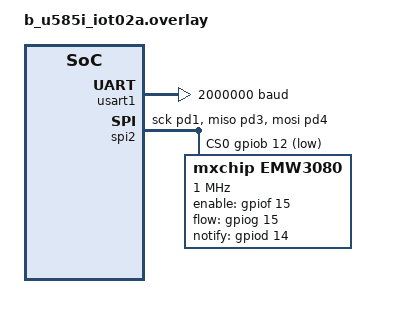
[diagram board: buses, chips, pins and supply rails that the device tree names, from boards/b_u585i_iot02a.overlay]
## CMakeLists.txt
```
# Copyright (c) 2026 Bayrem Gharsellaoui
# SPDX-License-Identifier: Apache-2.0

cmake_minimum_required(VERSION 3.20.0)

list(APPEND EXTRA_ZEPHYR_MODULES
  ${CMAKE_CURRENT_LIST_DIR}/../..
)

find_package(Zephyr REQUIRED HINTS $ENV{ZEPHYR_BASE})

project(emw3080_basic)

target_sources(app PRIVATE src/main.c)
```

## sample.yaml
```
# Copyright (c) 2026 Bayrem Gharsellaoui
# SPDX-License-Identifier: Apache-2.0


# Copyright (c) 2026 Bayrem Gharsellaoui
# SPDX-License-Identifier: Apache-2.0

sample:
  name: EMW3080 basic sample
  description: Basic bring-up sample for the MXCHIP EMW3080 module

tests:
  sample.emw3080.basic:
    tags:
      - wifi
      - emw3080
    platform_allow:
      - b_u585i_iot02a
      - native_sim
    integration_platforms:
      - b_u585i_iot02a
      - native_sim
```

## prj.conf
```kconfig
# Copyright (c) 2026 Bayrem Gharsellaoui
# SPDX-License-Identifier: Apache-2.0

# Logging
CONFIG_LOG=y
CONFIG_LOG_INFO_COLOR_GREEN=y
CONFIG_LOG_DBG_COLOR_BLUE=y

# Shell
CONFIG_SHELL=y
CONFIG_KERNEL_SHELL=y

# Misc
CONFIG_REBOOT=y
```

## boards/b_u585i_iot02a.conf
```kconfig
# Copyright (c) 2026 Bayrem Gharsellaoui
# SPDX-License-Identifier: Apache-2.0

# Stacks
CONFIG_MAIN_STACK_SIZE=4096
CONFIG_STACK_SENTINEL=y
CONFIG_NET_MGMT_EVENT_STACK_SIZE=2048

# WiFi
CONFIG_SPI=y
CONFIG_WIFI=y
CONFIG_EMW3080=y
CONFIG_EMW3080_LOG_LEVEL_DBG=y

# Networking
CONFIG_NETWORKING=y
CONFIG_NET_IPV4=y
CONFIG_NET_IPV6=n
CONFIG_NET_DHCPV4=n
CONFIG_NET_SOCKETS_OFFLOAD=n
CONFIG_NET_SHELL=y
CONFIG_NET_L2_WIFI_SHELL=y
```

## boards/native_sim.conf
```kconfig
# Copyright (c) 2026 Bayrem Gharsellaoui
# SPDX-License-Identifier: Apache-2.0

# Shell/logging on stdin/stdout
CONFIG_UART_NATIVE_PTY_0_ON_STDINOUT=y
CONFIG_SHELL_LOG_BACKEND=n
CONFIG_LOG_RUNTIME_DEFAULT_LEVEL=4
```

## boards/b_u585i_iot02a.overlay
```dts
/*
 * Copyright (c) 2026 Bayrem Gharsellaoui
 * SPDX-License-Identifier: Apache-2.0
 */

&usart1 {
	current-speed = <2000000>;
	status = "okay";
};

&spi2 {
	pinctrl-0 = <&spi2_sck_pd1 &spi2_miso_pd3 &spi2_mosi_pd4>;
	pinctrl-names = "default";
	cs-gpios = <&gpiob 12 GPIO_ACTIVE_LOW>;
	status = "okay";

	emw3080: wifi@0 {
		compatible = "mxchip,emw3080";
		reg = <0>;
		spi-max-frequency = <1000000>;

		enable-gpios = <&gpiof 15 GPIO_ACTIVE_HIGH>;
		flow-gpios = <&gpiog 15 GPIO_ACTIVE_HIGH>;
		notify-gpios = <&gpiod 14 GPIO_ACTIVE_HIGH>;

		status = "okay";
	};
};
```

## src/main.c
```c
/*
 * Copyright (c) 2026 Bayrem Gharsellaoui
 * SPDX-License-Identifier: Apache-2.0
 */

#include <zephyr/kernel.h>
#include <zephyr/drivers/wifi/emw3080.h>
#include <zephyr/net/net_if.h>
#include <zephyr/net/net_mgmt.h>
#include <zephyr/net/wifi_mgmt.h>
#include <zephyr/logging/log.h>
LOG_MODULE_REGISTER(main, LOG_LEVEL_DBG);

static const struct device *wifi = DEVICE_DT_GET(DT_NODELABEL(emw3080));

int main(void)
{
	LOG_INF("Started main...");

	char version[32] = {0};

	int ret = emw3080_get_firmware_version(wifi, version, sizeof(version));

	if (ret == 0) {
		LOG_INF("Firmware version: %s", version);
	} else {
		LOG_ERR("Failed to read firmware version: %d", ret);
	}

	uint8_t mac[6] = {0};

	ret = emw3080_get_mac_address(wifi, mac);

	if (ret == 0) {
		LOG_INF("MAC address: %02x:%02x:%02x:%02x:%02x:%02x", mac[0], mac[1], mac[2],
			mac[3], mac[4], mac[5]);
	} else {
		LOG_ERR("Failed to read MAC address: %d", ret);
	}

	struct net_if *iface = net_if_lookup_by_dev(wifi);

	if (iface == NULL) {
		LOG_ERR("EMW3080 network interface not found");
	} else {
		LOG_INF("EMW3080 network interface: %d", net_if_get_by_iface(iface));
	}

	if (iface != NULL) {
		LOG_INF("Is Wi-Fi interface: %d", net_if_is_wifi(iface));
		LOG_INF("Interface administratively up: %d", net_if_is_admin_up(iface));
	}

	while (true) {
		k_msleep(1000);
	}

	return 0;
}
```
